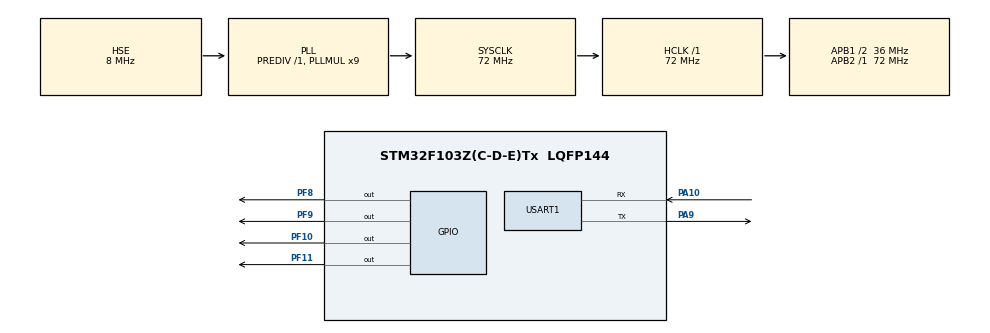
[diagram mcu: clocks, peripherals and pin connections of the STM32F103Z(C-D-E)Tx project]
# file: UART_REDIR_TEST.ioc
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Mcu.Family=STM32F1
Mcu.Name=STM32F103Z(C-D-E)Tx
Mcu.Package=LQFP144
NVIC.PriorityGroup=NVIC_PRIORITYGROUP_4
OSC_IN.Mode=HSE-External-Oscillator
OSC_IN.Signal=RCC_OSC_IN
OSC_OUT.Mode=HSE-External-Oscillator
OSC_OUT.Signal=RCC_OSC_OUT
PA10.Mode=Asynchronous
PA10.Signal=USART1_RX
PA13.Mode=Serial_Wire
PA13.Signal=SYS_JTMS-SWDIO
PA14.Mode=Serial_Wire
PA14.Signal=SYS_JTCK-SWCLK
PA9.Mode=Asynchronous
PA9.Signal=USART1_TX
PF10.PinState=GPIO_PIN_SET
PF10.Signal=GPIO_Output
PF11.PinState=GPIO_PIN_SET
PF11.Signal=GPIO_Output
PF8.PinState=GPIO_PIN_SET
PF8.Signal=GPIO_Output
PF9.PinState=GPIO_PIN_SET
PF9.Signal=GPIO_Output
ProjectManager.HeapSize=0x200
ProjectManager.StackSize=0x400
ProjectManager.TargetToolchain=MDK-ARM V5.32
RCC.AHBFreq_Value=72000000
RCC.APB1CLKDivider=RCC_HCLK_DIV2
RCC.APB1Freq_Value=36000000
RCC.APB1TimFreq_Value=72000000
RCC.APB2Freq_Value=72000000
RCC.APB2TimFreq_Value=72000000
RCC.HCLKFreq_Value=72000000
RCC.PLLMUL=RCC_PLL_MUL9
RCC.PLLSourceVirtual=RCC_PLLSOURCE_HSE
RCC.SYSCLKFreq_VALUE=72000000
RCC.SYSCLKSource=RCC_SYSCLKSOURCE_PLLCLK
RCC.USBFreq_Value=72000000
USART1.Parity=PARITY_ODD
USART1.VirtualMode=VM_ASYNC
USART1.WordLength=WORDLENGTH_9B
board=custom

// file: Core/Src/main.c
/* USER CODE BEGIN Header */
/**
 ******************************************************************************
 * @file           : main.c
 * @brief          : Main program body
 ******************************************************************************
 * @attention
 *
 * Copyright (c) 2026 STMicroelectronics.
 * All rights reserved.
 *
 * This software is licensed under terms that can be found in the LICENSE file
 * in the root directory of this software component.
 * If no LICENSE file comes with this software, it is provided AS-IS.
 *
 ******************************************************************************
 */
/* USER CODE END Header */
#include "main.h"

/* USER CODE BEGIN Includes */
#include <string.h>
#include <stdio.h>
#include "BSP_Usart_Redir.h"
#include "BSP_LED.h"

/* USER CODE END Includes */

/* USER CODE BEGIN PM */
#define LED_ORDER_SIZE 32
/* USER CODE END PM */

UART_HandleTypeDef huart1;

/* USER CODE BEGIN PV */
char LED_ORDER[LED_ORDER_SIZE];
char inbuffer[32];
/* USER CODE END PV */

void SystemClock_Config(void);
static void MX_GPIO_Init(void);
static void MX_USART1_UART_Init(void);
/* USER CODE BEGIN PFP */
void Uasrt_Ctl_LED();
/* USER CODE END PFP */

int main(void)
{

    /* MCU Configuration--------------------------------------------------------*/

    /* Reset of all peripherals, Initializes the Flash interface and the Systick. */
    HAL_Init();

    /* Configure the system clock */
    SystemClock_Config();

    /* Initialize all configured peripherals */
    MX_GPIO_Init();
    MX_USART1_UART_Init();
    /* USER CODE BEGIN 2 */
    BSP_Usart_Init(&huart1);
    printf("重定向开始测试\n");
    /* USER CODE END 2 */

    /* Infinite loop */
    /* USER CODE BEGIN WHILE */
    while (1)
    {
        // version4
        // BSP_LED_On(LED1);
        // HAL_Delay(1000);
        // BSP_LED_On(LED2);
        // HAL_Delay(1000);
        // BSP_LED_On(LED3);
        // HAL_Delay(1000);
        // BSP_LED_On(LED4);
        // HAL_Delay(1000);

        Uasrt_Ctl_LED();

        // version3
        // fgets(inbuffer, 31, stdin);
        // int a = 0;
        // scanf("%d", &a);
        // printf("echo -> %d\n", a);
        // HAL_GPIO_TogglePin(GPIOF, GPIO_PIN_8);

        // version2
        // fgets(inbuffer, 31, stdin);
        // printf("echo -> %s", inbuffer);
        // HAL_GPIO_TogglePin(GPIOF, GPIO_PIN_8);

        // version1
        // printf("hello world stm32");
        // HAL_GPIO_TogglePin(GPIOF, GPIO_PIN_8);
        // HAL_Delay(1000);
        /* USER CODE END WHILE */

    }
}

void SystemClock_Config(void)
{
    RCC_OscInitTypeDef RCC_OscInitStruct = {0};
    RCC_ClkInitTypeDef RCC_ClkInitStruct = {0};

    /** Initializes the RCC Oscillators according to the specified parameters
   * in the RCC_OscInitTypeDef structure.
   */
    RCC_OscInitStruct.OscillatorType = RCC_OSCILLATORTYPE_HSE;
    RCC_OscInitStruct.HSEState = RCC_HSE_ON;
    RCC_OscInitStruct.HSEPredivValue = RCC_HSE_PREDIV_DIV1;
    RCC_OscInitStruct.HSIState = RCC_HSI_ON;
    RCC_OscInitStruct.PLL.PLLState = RCC_PLL_ON;
    RCC_OscInitStruct.PLL.PLLSource = RCC_PLLSOURCE_HSE;
    RCC_OscInitStruct.PLL.PLLMUL = RCC_PLL_MUL9;
    if (HAL_RCC_OscConfig(&RCC_OscInitStruct) != HAL_OK)
    {
        Error_Handler();
    }

    /** Initializes the CPU, AHB and APB buses clocks
   */
    RCC_ClkInitStruct.ClockType = RCC_CLOCKTYPE_HCLK | RCC_CLOCKTYPE_SYSCLK | RCC_CLOCKTYPE_PCLK1 | RCC_CLOCKTYPE_PCLK2;
    RCC_ClkInitStruct.SYSCLKSource = RCC_SYSCLKSOURCE_PLLCLK;
    RCC_ClkInitStruct.AHBCLKDivider = RCC_SYSCLK_DIV1;
    RCC_ClkInitStruct.APB1CLKDivider = RCC_HCLK_DIV2;
    RCC_ClkInitStruct.APB2CLKDivider = RCC_HCLK_DIV1;

    if (HAL_RCC_ClockConfig(&RCC_ClkInitStruct, FLASH_LATENCY_2) != HAL_OK)
    {
        Error_Handler();
    }
}

static void MX_USART1_UART_Init(void)
{

    huart1.Instance = USART1;
    huart1.Init.BaudRate = 115200;
    huart1.Init.WordLength = UART_WORDLENGTH_9B;
    huart1.Init.StopBits = UART_STOPBITS_1;
    huart1.Init.Parity = UART_PARITY_ODD;
    huart1.Init.Mode = UART_MODE_TX_RX;
    huart1.Init.HwFlowCtl = UART_HWCONTROL_NONE;
    huart1.Init.OverSampling = UART_OVERSAMPLING_16;
    if (HAL_UART_Init(&huart1) != HAL_OK)
    {
        Error_Handler();
    }
}

static void MX_GPIO_Init(void)
{
    GPIO_InitTypeDef GPIO_InitStruct = {0};

    /* GPIO Ports Clock Enable */
    __HAL_RCC_GPIOF_CLK_ENABLE();
    __HAL_RCC_GPIOA_CLK_ENABLE();

    /*Configure GPIO pin Output Level */
    HAL_GPIO_WritePin(GPIOF, GPIO_PIN_8 | GPIO_PIN_9 | GPIO_PIN_10 | GPIO_PIN_11, GPIO_PIN_SET);

    /*Configure GPIO pins : PF8 PF9 PF10 PF11 */
    GPIO_InitStruct.Pin = GPIO_PIN_8 | GPIO_PIN_9 | GPIO_PIN_10 | GPIO_PIN_11;
    GPIO_InitStruct.Mode = GPIO_MODE_OUTPUT_PP;
    GPIO_InitStruct.Pull = GPIO_NOPULL;
    GPIO_InitStruct.Speed = GPIO_SPEED_FREQ_LOW;
    HAL_GPIO_Init(GPIOF, &GPIO_InitStruct);

}

/* USER CODE BEGIN 4 */

void Uasrt_Ctl_LED()
{
    fgets(LED_ORDER, LED_ORDER_SIZE - 1, stdin);
    if (strncasecmp("LED1", LED_ORDER, strlen("LED1")) == 0)
    {
        LED_Blink(LED1);
    }
    if (strncasecmp("LED2", LED_ORDER, strlen("LED2")) == 0)
    {
        LED_Blink(LED2);
    }
    if (strncasecmp("LED3", LED_ORDER, strlen("LED3")) == 0)
    {
        LED_Blink(LED3);
    }
    if (strncasecmp("LED4", LED_ORDER, strlen("LED4")) == 0)
    {
        LED_Blink(LED4);
    }
    if (strncasecmp("ALL", LED_ORDER, strlen("ALL")) == 0)
    {
        LED_Blink(ALL);
    }
}

// 不分文件写法
// 我们可以重写fputc函数，向串口发送字符
// int fputc(int ch, FILE *fp)
// {
//   UNUSED(fp); // 用于消除警告的宏
//   if (HAL_UART_Transmit(&huart1, (uint8_t *)&ch, 1, HAL_MAX_DELAY) == HAL_OK)
//   {
//     return ch;
//   }
//   return EOF;
// }

// int fgetc(FILE *fp)
// {
//   UNUSED(fp); // 消除警告的宏
//   uint8_t ch = 0;
//   while (1)
//   {
//     if (HAL_UART_Receive(&huart1, &ch, 1, HAL_MAX_DELAY) != HAL_OK)
//     {
//       return EOF;
//     }
//     // 到这就一定读取成功了
//     if (ch != '\r')
//     {
//       return (int)ch;
//     }
//   }
// }

/* USER CODE END 4 */

void Error_Handler(void)
{
    __disable_irq();
    while (1)
    {
    }
}
